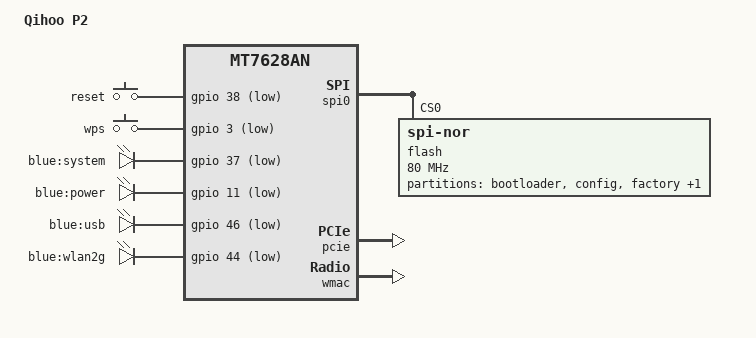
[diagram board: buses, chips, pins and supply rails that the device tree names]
// SPDX-License-Identifier: GPL-2.0-or-later OR MIT

#include "mt7628an.dtsi"

#include <dt-bindings/gpio/gpio.h>
#include <dt-bindings/input/input.h>

/ {
	compatible = "qihoo,p2", "mediatek,mt7628an-soc";
	model = "Qihoo P2";

	aliases {
		led-boot = &led_system;
		led-failsafe = &led_system;
		led-running = &led_system;
		led-upgrade = &led_system;
	};

	keys {
		compatible = "gpio-keys";

		reset {
			label = "reset";
			gpios = <&gpio 38 GPIO_ACTIVE_LOW>;
			linux,code = <KEY_RESTART>;
		};

		wps {
			label = "wps";
			gpios = <&gpio 3 GPIO_ACTIVE_LOW>;
			linux,code = <KEY_WPS_BUTTON>;
		};
	};

	leds {
		compatible = "gpio-leds";

		led_system: system {
			label = "blue:system";
			gpios = <&gpio 37 GPIO_ACTIVE_LOW>;
		};

		power {
			label = "blue:power";
			gpios = <&gpio 11 GPIO_ACTIVE_LOW>;
			default-state = "on";
		};

		usb {
			label = "blue:usb";
			gpios = <&gpio 46 GPIO_ACTIVE_LOW>;
			trigger-sources = <&ohci_port1>, <&ehci_port1>;
			linux,default-trigger = "usbport";
		};

		wlan2g {
			label = "blue:wlan2g";
			gpios = <&gpio 44 GPIO_ACTIVE_LOW>;
			linux,default-trigger = "phy0tpt";
		};
	};
};

&spi0 {
	status = "okay";

	flash@0 {
		compatible = "jedec,spi-nor";
		reg = <0>;
		spi-max-frequency = <80000000>;
		m25p,fast-read;

		partitions {
			compatible = "fixed-partitions";
			#address-cells = <1>;
			#size-cells = <1>;

			partition@0 {
				label = "bootloader";
				reg = <0x0 0x30000>;
				read-only;
			};

			partition@30000 {
				label = "config";
				reg = <0x30000 0x10000>;
				read-only;
			};

			factory: partition@40000 {
				label = "factory";
				reg = <0x40000 0x10000>;
				read-only;
			};

			partition@50000 {
				compatible = "denx,uimage";
				label = "firmware";
				reg = <0x50000 0xfb0000>;
			};
		};
	};
};

&state_default {
	gpio {
		groups = "i2s", "refclk", "wdt", "wled_an", "uart1";
		function = "gpio";
	};
};

&ethernet {
	nvmem-cells = <&macaddr_factory_ffe8>;
	nvmem-cell-names = "mac-address";
};

&esw {
	mediatek,portmap = <0x3e>;
};

&pcie {
	status = "okay";
};

&pcie0 {
	wifi@0,0 {
		reg = <0x0000 0 0 0 0>;
		mediatek,mtd-eeprom = <&factory 0x8000>;
		ieee80211-freq-limit = <5000000 6000000>;

		led {
			led-sources = <2>;
			led-active-low;
		};
	};
};

&wmac {
	status = "okay";
};

&factory {
	compatible = "nvmem-cells";
	#address-cells = <1>;
	#size-cells = <1>;

	macaddr_factory_ffe8: macaddr@ffe8 {
		reg = <0xffe8 0x6>;
	};
};
